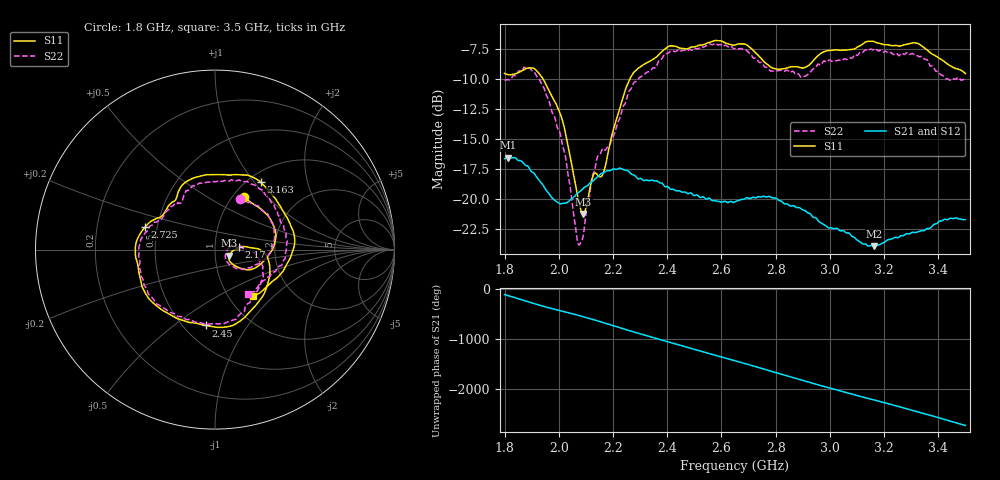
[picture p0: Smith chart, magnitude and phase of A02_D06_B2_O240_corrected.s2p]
! Created with skrf 1.9.0 (http://scikit-rf.org).
# Hz S RI R 50.0
!freq ReS11 ImS11 ReS21 ImS21 ReS12 ImS12 ReS22 ImS22
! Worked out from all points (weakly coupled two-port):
!   1601 points, 1.8 GHz to 3.5 GHz, reference 50 ohm
!   highest |S21| = -16.51 dB at 1.814 GHz (marker M1); lowest = -23.9 dB at 3.164 GHz (marker M2)
!   lowest |S11| = -21.2 dB at 2.09 GHz (marker M3), VSWR 1.19, Z = 58.6 - j3.99 ohm
!   |S11| at or under -10 dB: 1.943 GHz to 2.261 GHz (318.9 MHz wide, 15.2 % of centre)
!   |S22| runs from -23.8 to -7.0 dB; largest |S21 - S12| = 0.0024
!   S11 on the Smith chart (normalised r, x): 1.8 GHz: 1.13, +0.74; 2.17 GHz: 1.31, +0.04; 2.45 GHz: 0.64, -0.66; 2.725 GHz: 0.43, +0.13; 3.163 GHz: 1.14, +1.08; 3.5 GHz: 1.29, -0.75
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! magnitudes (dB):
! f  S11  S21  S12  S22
! 1.8 GHz  -9.5  -16.6  -16.6  -10.0
! 1.814 GHz  -9.6  -16.5  -16.5  -10.0
! 1.889 GHz  -9.1  -17.3  -17.4  -9.1
! 1.942 GHz  -10.0  -18.8  -18.8  -10.6
! 2.013 GHz  -13.4  -20.3  -20.3  -15.4
! 2.067 GHz  -19.4  -19.5  -19.5  -23.2
! 2.084 GHz  -21.0  -19.2  -19.2  -23.4
! 2.09 GHz  -21.2  -19.1  -19.1  -23.0
! 2.131 GHz  -17.8  -18.3  -18.3  -17.6
! 2.17 GHz  -17.4  -17.7  -17.8  -15.9
! 2.26 GHz  -10.1  -17.7  -17.7  -11.0
! 2.367 GHz  -8.0  -18.5  -18.5  -8.5
! 2.45 GHz  -7.4  -19.3  -19.3  -7.6
! 2.65 GHz  -7.1  -20.2  -20.2  -7.4
! 2.725 GHz  -7.8  -19.9  -19.8  -8.2
! 2.802 GHz  -9.1  -19.9  -19.9  -9.3
! 2.934 GHz  -8.6  -21.4  -21.3  -9.2
! 3.163 GHz  -6.9  -23.9  -23.8  -7.5
! 3.164 GHz  -6.9  -23.9  -23.8  -7.5
! 3.217 GHz  -7.1  -23.3  -23.3  -7.8
! 3.324 GHz  -7.0  -22.7  -22.7  -8.0
! 3.5 GHz  -9.5  -21.7  -21.6  -10.2
